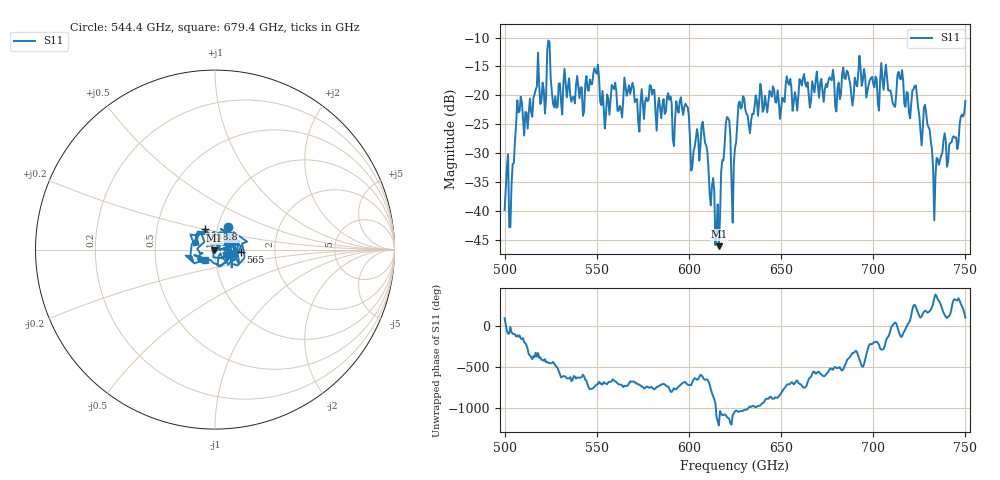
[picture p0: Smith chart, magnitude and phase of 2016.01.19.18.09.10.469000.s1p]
!Created with skrf (http://scikit-rf.org).
# GHz S RI R 50.0
!freq ReS11 ImS11
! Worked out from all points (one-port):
!   401 points, 500 GHz to 750 GHz, reference 50 ohm
!   lowest |S11| = -46.1 dB at 616.2 GHz (marker M1), VSWR 1.01, Z = 49.7 - j0.377 ohm
!   |S11| at or under -10 dB: start of sweep to end of sweep
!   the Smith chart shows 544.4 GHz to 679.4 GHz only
!   S11 on the Smith chart (normalised r, x): 544.4 GHz: 1.12, +0.29; 565 GHz: 1.33, -0.03; 638.8 GHz: 0.87, +0.20; 679.4 GHz: 0.89, -0.10
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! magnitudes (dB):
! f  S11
! 500 GHz  -39.8
! 503.8 GHz  -35.5
! 508.1 GHz  -22.7
! 521.2 GHz  -19.0
! 524.4 GHz  -10.8
! 527.5 GHz  -20.1
! 531.2 GHz  -23.3
! 544.4 GHz  -16.7
! 549.4 GHz  -15.9
! 562.5 GHz  -21.8
! 565 GHz  -16.9
! 593.8 GHz  -22.2
! 598.8 GHz  -21.8
! 601.9 GHz  -32.3
! 608.1 GHz  -26.5
! 616.2 GHz  -46.1
! 620.6 GHz  -23.7
! 625 GHz  -29.1
! 628.1 GHz  -22.3
! 638.8 GHz  -18.0
! 656.2 GHz  -22.7
! 679.4 GHz  -21.9
! 687.5 GHz  -18.0
! 714.4 GHz  -17.1
! 718.8 GHz  -19.6
! 728.8 GHz  -23.2
! 733.8 GHz  -34.1
! 750 GHz  -20.9
